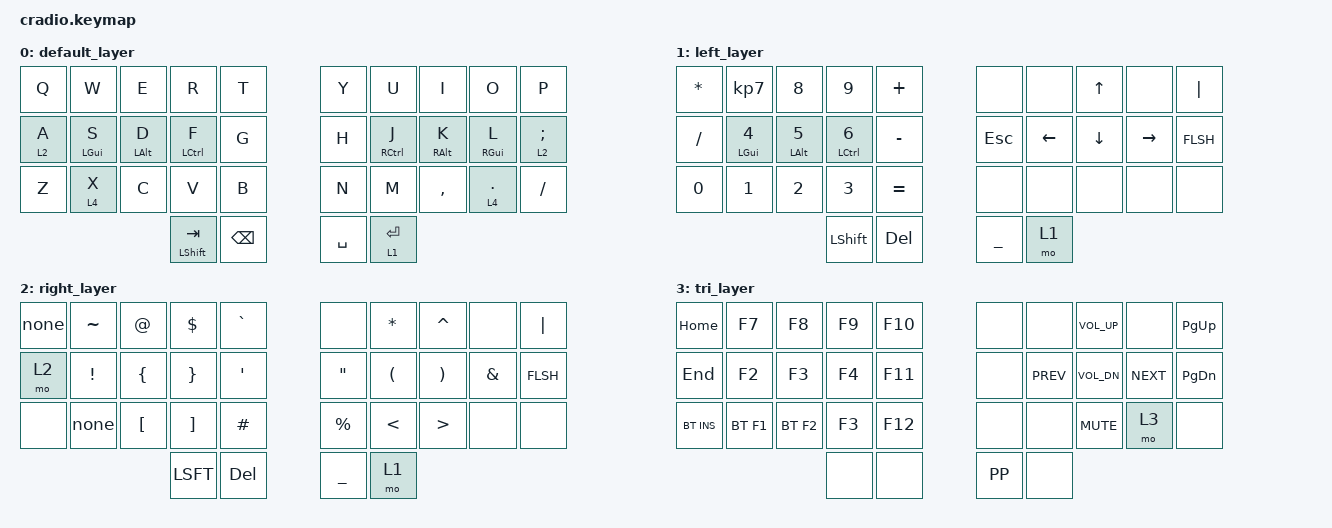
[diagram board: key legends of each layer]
/*
 * Copyright (c) 2020 The ZMK Contributors
 *
 * SPDX-License-Identifier: MIT
 */

#include <behaviors.dtsi>
#include <dt-bindings/zmk/keys.h>
#include <dt-bindings/zmk/bt.h>

#define DEF  0
#define ONE  1
#define TWO  2
#define FOUR 3

&mt {
	flavor = "tap-preferred";
	tapping_term_ms = <200>;
};

/ {
        keymap {
                compatible = "zmk,keymap";
                
       		default_layer {
		bindings = <
		&kp Q    &kp W      &kp E      &kp R       &kp T 			&kp Y &kp U       &kp I      &kp O       &kp P 
		&lt 2 A  &mt LGUI S &mt LALT D &mt LCTRL F  &kp G 			&kp H &mt RCTRL J &mt RALT K &mt RGUI L  &lt 2 SEMI
		&kp Z    &lt 4    X &kp C      &kp V       &kp B			&kp N &kp M       &kp CMMA   &lt 4 DOT   &kp FSLH
          				    &mt LSHFT TAB  &kp BSPC		      &kp SPC &lt 1 RET
		>;
		};

       		left_layer {
		bindings = <
		&kp STAR  &kp KP_N7   &kp N8      &kp N9       &kp PLUS 		&none      &none     &kp UP    &none      &kp PIPE
		&kp FSLH  &mt LGUI N4 &mt LALT N5 &mt LCTRL N6 &kp MINUS 		&kp ESC    &kp LEFT  &kp DOWN  &kp RIGHT  &kp FLSH
		&kp N0    &kp N1      &kp N2      &kp N3       &kp EQUAL		&none      &none     &none     &none      &none
          				     	  &kp LSHFT    &kp DELETE  		&kp UNDER  &mo 1
		>;
		};
		
		right_layer {
		bindings = <
		&kp none  &kp TILDE &kp AT    &kp DLLR  &kp GRAVE    			&none      &kp STAR  &kp CARET &none     &kp PIPE 
		&mo 2     &kp EXCL  &kp LBRC  &kp RBRC  &kp SQT 			&kp DQT    &kp LPAR  &kp RPAR  &kp AMPS  &kp FLSH
		&none     &kp none  &kp LBKT  &kp RBKT  &kp HASH    			&kp PRCNT  &kp LT    &kp GT    &none     &none
					      &kp LSFT  &kp DELETE  			&kp UNDER  &mo 1 
		>;
		};	
		
		tri_layer {
		bindings = <
		&kp HOME  &kp F7   &kp F8   &kp F9   &kp F10 				&none     &none       &kp K_VOL_UP  &none       &kp PG_UP
		&kp END   &kp F2   &kp F3   &kp F4   &kp F11 				&none     &kp K_PREV  &kp K_VOL_DN  &kp K_NEXT  &kp PG_DN 
		&bt INS   &bt F1   &bt F2   &kp F3   &kp F12  				&none     &none       &kp K_MUTE    &mo 3       &none
					    &none    &none  				&kp K_PP  &none 
		>;
		};
        
	};
};
